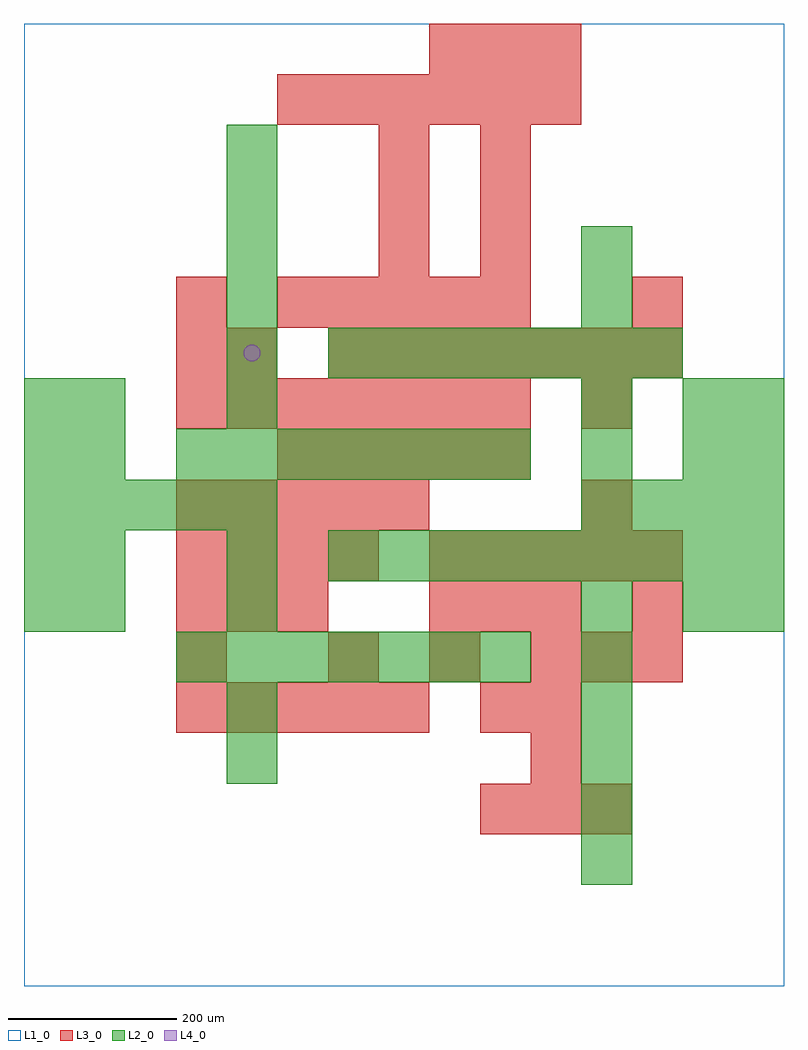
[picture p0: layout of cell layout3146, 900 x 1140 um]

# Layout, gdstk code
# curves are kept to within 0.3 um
import gdstk
lib = gdstk.Library(unit=1e-6, precision=1e-09)
def R(c, l, rs):  # rectangles x0, y0, x1, y1
    for r in rs: c.add(gdstk.rectangle(r[:2], r[2:], *l))
def A(c, l, x, y, w, h, nx, ny, dx, dy):  # array of equal rectangles
    R(c, l, [(x+i*dx, y+j*dy, x+i*dx+w, y+j*dy+h) for i in range(nx) for j in range(ny)])
def P(c, l, *ps):  # polygons
    for p in ps: c.add(gdstk.Polygon(p, *l))
L1_0 = (1, 0)
L2_0 = (2, 0)
L3_0 = (3, 0)
L4_0 = (4, 0)

layout3146 = lib.new_cell('layout3146')
R(layout3146, L1_0, [(0,0,900,1140)])
A(layout3146, L2_0, 660, 120, 60, 60, 1, 6, 0, 60)
A(layout3146, L2_0, 180, 360, 60, 60, 7, 2, 60, 240)
A(layout3146, L2_0, 360, 480, 60, 60, 9, 1, 60, 0)
A(layout3146, L2_0, 0, 540, 60, 60, 5, 1, 60, 0)
A(layout3146, L2_0, 660, 540, 60, 60, 4, 1, 60, 0)
A(layout3146, L2_0, 240, 660, 60, 60, 1, 6, 0, 60)
A(layout3146, L2_0, 360, 720, 60, 60, 7, 1, 60, 0)
R(layout3146, L2_0, [(240,240,300,300), (240,300,300,360), (0,420,60,480), (60,420,120,480), (240,420,300,480), (780,420,840,480), (840,420,900,480), (0,480,60,540), (60,480,120,540), (240,480,300,540), (0,600,60,660), (60,600,120,660), (660,600,720,660), (780,600,840,660), (840,600,900,660), (0,660,60,720), (60,660,120,720), (660,660,720,720), (780,660,840,720), (840,660,900,720), (660,780,720,840), (660,840,720,900)])
A(layout3146, L3_0, 540, 180, 60, 60, 3, 1, 60, 0)
A(layout3146, L3_0, 180, 300, 60, 60, 5, 2, 60, 240)
A(layout3146, L3_0, 360, 360, 60, 60, 3, 1, 120, 0)
A(layout3146, L3_0, 180, 420, 60, 60, 3, 1, 60, 0)
A(layout3146, L3_0, 480, 420, 60, 60, 3, 2, 60, 660)
A(layout3146, L3_0, 180, 480, 60, 60, 4, 1, 60, 0)
A(layout3146, L3_0, 480, 480, 60, 60, 5, 1, 60, 0)
A(layout3146, L3_0, 300, 600, 60, 60, 5, 2, 60, 180)
A(layout3146, L3_0, 180, 660, 60, 60, 7, 1, 60, 0)
A(layout3146, L3_0, 360, 720, 60, 60, 7, 1, 60, 0)
A(layout3146, L3_0, 420, 840, 60, 60, 1, 3, 0, 60)
A(layout3146, L3_0, 540, 840, 60, 60, 1, 3, 0, 60)
A(layout3146, L3_0, 300, 1020, 60, 60, 6, 1, 60, 0)
R(layout3146, L3_0, [(600,240,660,300), (540,300,600,360), (600,300,660,360), (180,360,240,420), (660,360,720,420), (720,360,780,420), (720,420,780,480), (660,540,720,600), (660,660,720,720), (180,720,240,780), (240,720,300,780), (180,780,240,840), (720,780,780,840)])
P(layout3146, L4_0, [(280,750),(279.239,753.827),(277.071,757.071),(273.827,759.239),(270,760),(266.173,759.239),(262.929,757.071),(260.761,753.827),(260,750),(260.761,746.173),(262.929,742.929),(266.173,740.761),(270,740),(273.827,740.761),(277.071,742.929),(279.239,746.173)])

lib.write_gds('layout3146.gds')
